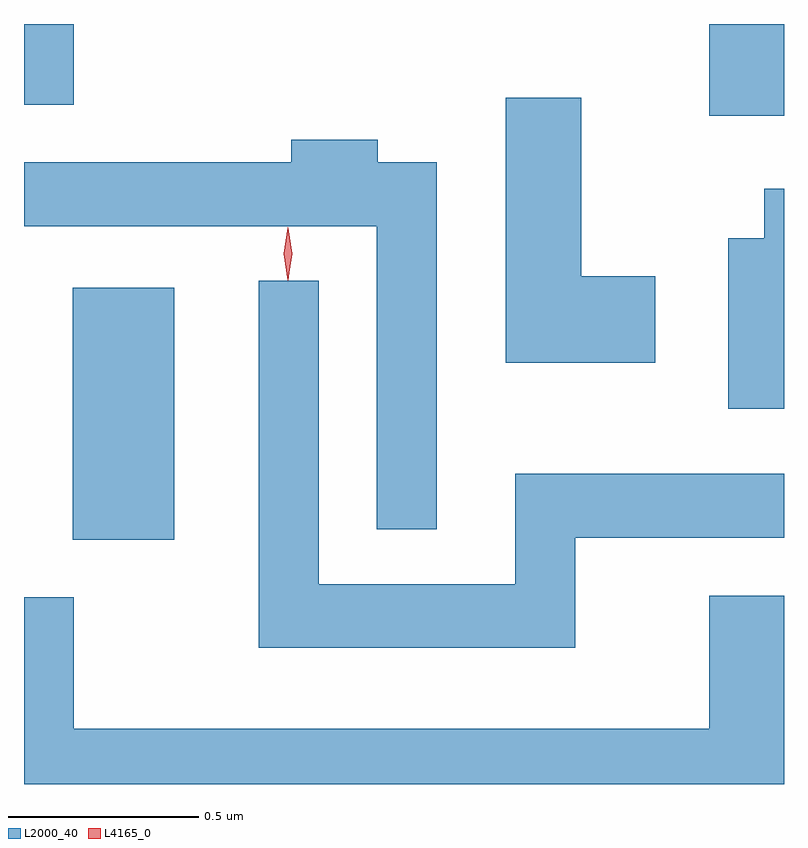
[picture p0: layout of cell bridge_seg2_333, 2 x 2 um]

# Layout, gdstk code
import gdstk
lib = gdstk.Library(unit=1e-6, precision=1e-09)
def R(c, l, rs):  # rectangles x0, y0, x1, y1
    for r in rs: c.add(gdstk.rectangle(r[:2], r[2:], *l))
def P(c, l, *ps):  # polygons
    for p in ps: c.add(gdstk.Polygon(p, *l))
L2000_40 = (2000, 40)
L4165_0 = (4165, 0)

bridge_seg2_333 = lib.new_cell('bridge_seg2_333')
R(bridge_seg2_333, L2000_40, [(411.366,1080.161,411.634,1080.824), (413.041,1081.276,413.238,1081.518), (411.238,1081.306,411.369,1081.518)])
P(bridge_seg2_333, L2000_40, [(412.899,1080.854),(412.704,1080.854),(412.704,1081.324),(412.506,1081.324),(412.506,1080.626),(412.899,1080.626)],
  [(412.324,1081.154),(412.169,1081.154),(412.169,1081.214),(411.941,1081.214),(411.941,1081.154),(411.238,1081.154),(411.238,1080.986),(412.166,1080.986),(412.166,1080.188),(412.324,1080.188)],
  [(413.238,1081.084),(413.186,1081.084),(413.186,1080.954),(413.091,1080.954),(413.091,1080.506),(413.238,1080.506)],
  [(412.689,1080.166),(413.238,1080.166),(413.238,1080.334),(412.531,1080.334),(412.531,1080.044),(412.014,1080.044),(412.014,1080.843),(411.856,1080.843),(411.856,1079.876),(412.689,1079.876)],
  [(413.238,1080.014),(413.041,1080.014),(413.041,1079.664),(411.369,1079.664),(411.369,1080.009),(411.238,1080.009),(411.238,1079.518),(413.238,1079.518)])
P(bridge_seg2_333, L4165_0, [(411.932,1080.843),(411.932,1080.844),(411.922,1080.913),(411.932,1080.982),(411.932,1080.983),(411.933,1080.982),(411.942,1080.913),(411.933,1080.844)],
  [(411.934,1080.847),(411.933,1080.848),(411.924,1080.914),(411.933,1080.98),(411.934,1080.98),(411.934,1080.98),(411.944,1080.914),(411.934,1080.848)])

lib.write_gds('bridge_seg2_333.gds')
